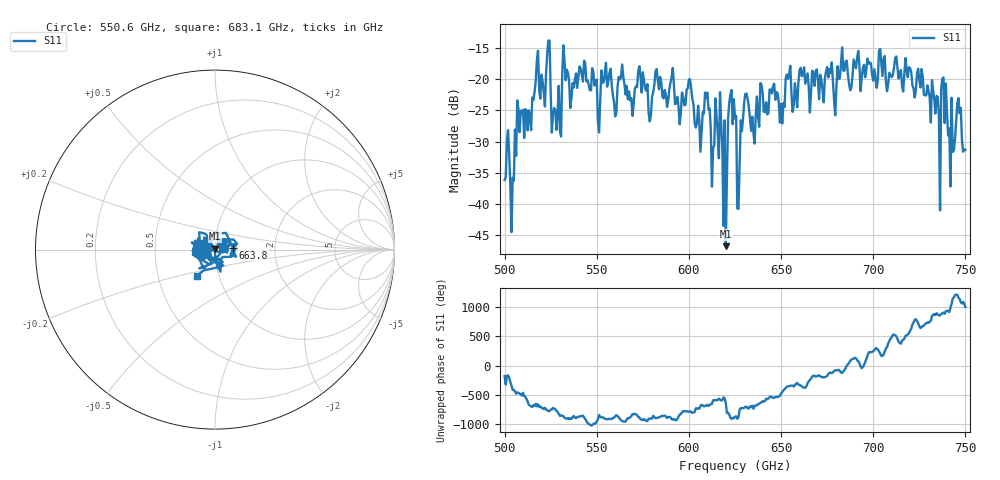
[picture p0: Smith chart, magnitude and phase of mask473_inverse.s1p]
!Created with skrf (http://scikit-rf.org).
# GHz S MA R 50.0
!freq magS11 angS11
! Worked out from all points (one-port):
!   401 points, 500 GHz to 750 GHz, reference 50 ohm
!   lowest |S11| = -46.7 dB at 620 GHz (marker M1), VSWR 1.01, Z = 50.1 + j0.458 ohm
!   |S11| at or under -10 dB: start of sweep to end of sweep
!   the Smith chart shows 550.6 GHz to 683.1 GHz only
!   S11 on the Smith chart (normalised r, x): 550.6 GHz: 0.92, +0.03; 663.8 GHz: 1.22, +0.03; 683.1 GHz: 0.78, -0.24
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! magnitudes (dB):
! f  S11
! 500 GHz  -36.1
! 503.8 GHz  -44.5
! 508.1 GHz  -28.5
! 517.5 GHz  -17.0
! 523.8 GHz  -13.8
! 526.9 GHz  -24.6
! 531.2 GHz  -19.3
! 542.5 GHz  -20.4
! 550.6 GHz  -26.8
! 562.5 GHz  -20.0
! 593.8 GHz  -22.8
! 610 GHz  -22.2
! 620 GHz  -46.7
! 622.5 GHz  -22.5
! 625 GHz  -26.3
! 627.5 GHz  -33.6
! 631.2 GHz  -22.3
! 634.4 GHz  -26.0
! 656.2 GHz  -25.2
! 663.8 GHz  -19.9
! 683.1 GHz  -14.9
! 687.5 GHz  -21.8
! 718.8 GHz  -19.7
! 735 GHz  -22.9
! 738.1 GHz  -19.7
! 743.1 GHz  -31.7
! 746.2 GHz  -23.1
! 750 GHz  -31.3
